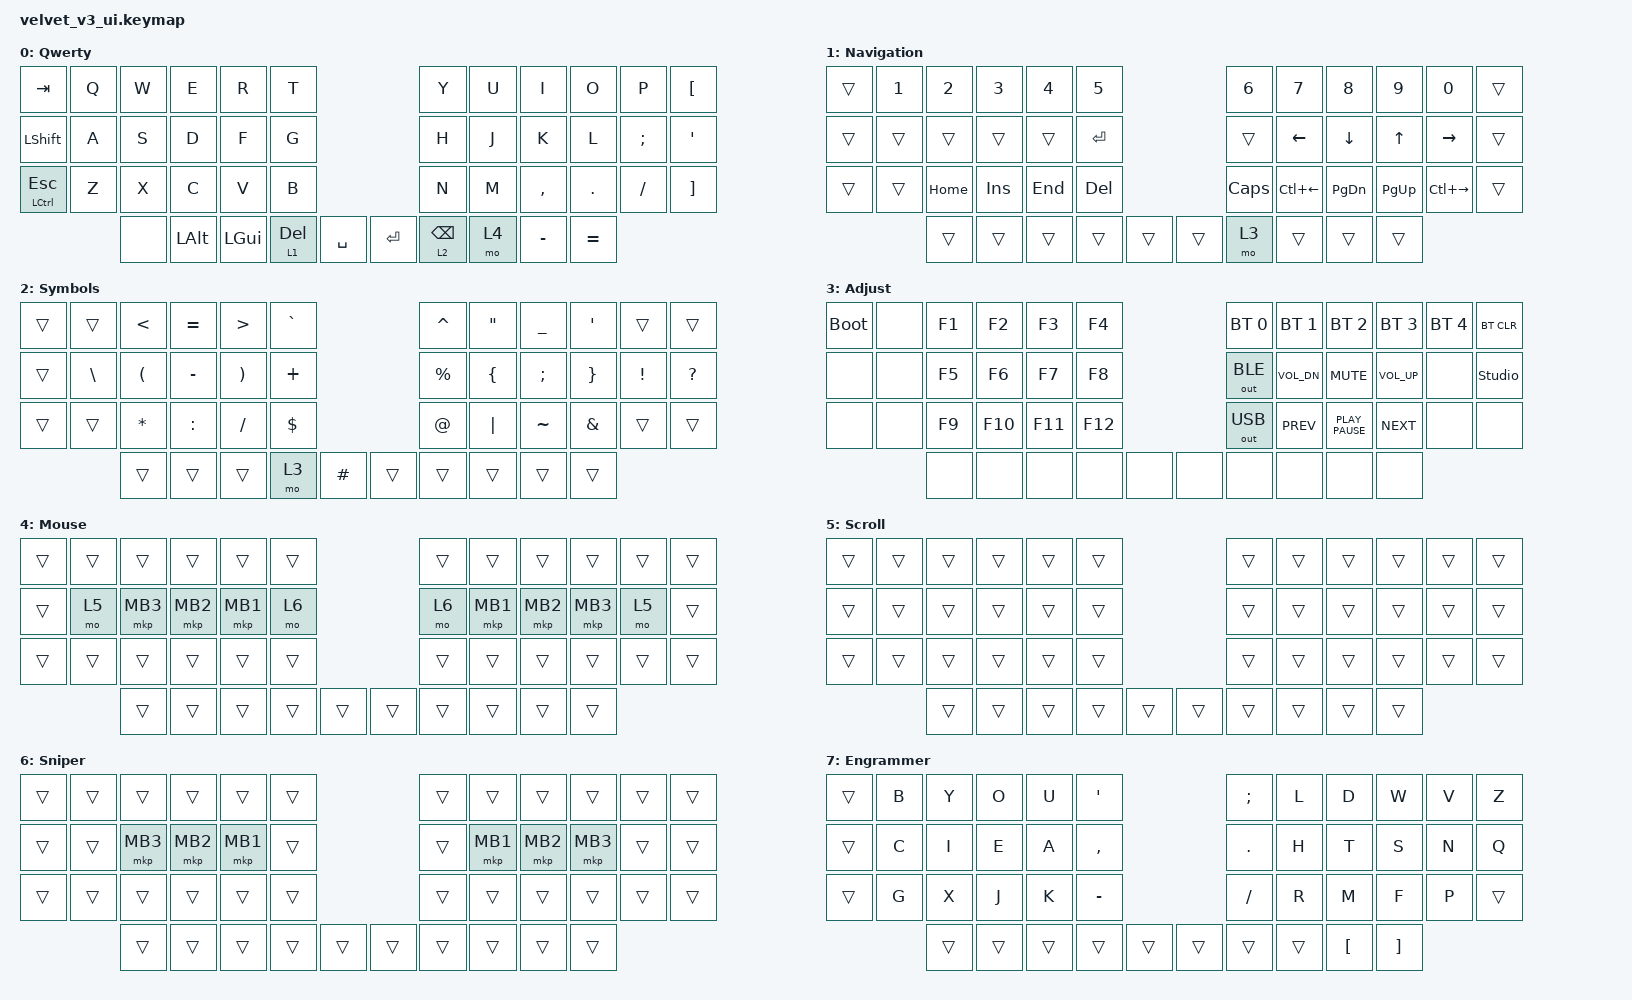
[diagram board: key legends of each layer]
#include "keys_ru.h"
#include <dt-bindings/zmk/input_transform.h>
#include <input/processors.dtsi>
#include <zephyr/dt-bindings/input/input-event-codes.h>
#include <behaviors.dtsi>
#include <dt-bindings/zmk/bt.h>
#include <dt-bindings/zmk/keys.h>
#include <dt-bindings/zmk/outputs.h>
#include <dt-bindings/zmk/pointing.h>

/ {
    behaviors {
        cap_sen: cap_sen {
            compatible = "zmk,behavior-hold-tap";
            label = "CAP_SEN";
            bindings = <&mo>, <&mkp>;

            #binding-cells = <2>;
            tapping-term-ms = <150>;
            hold-while-undecided;
        };

        td_l2_bs: td_l2_bs {
            compatible = "zmk,behavior-tap-dance";
            label = "TD_L2_BS";
            #binding-cells = <0>;
            bindings = <&lt 2 BACKSPACE>, <&kp BACKSPACE>;
        };
    };

    keymap {
        compatible = "zmk,keymap";

        Qwerty {
            bindings = <
&kp TAB        &kp Q  &kp W  &kp E     &kp R     &kp T                            &kp Y            &kp U  &kp I      &kp O      &kp P     &kp LBKT
&kp LSHIFT     &kp A  &kp S  &kp D     &kp F     &kp G                            &kp H            &kp J  &kp K      &kp L      &kp SEMI  &kp SQT
&mt LCTRL ESC  &kp Z  &kp X  &kp C     &kp V     &kp B                            &kp N            &kp M  &kp COMMA  &kp DOT    &kp FSLH  &kp RIGHT_BRACKET
                      &none  &kp LALT  &kp LGUI  &lt 1 DEL  &kp SPACE    &kp RET  &lt 2 BACKSPACE  &mo 4  &kp MINUS  &kp EQUAL
            >;

            display-name = "Qwerty";
        };

        Navigation {
            bindings = <
&trans  &kp N1  &kp N2    &kp N3   &kp N4   &kp N5                     &kp N6    &kp N7        &kp N8         &kp N9       &kp N0         &trans
&trans  &trans  &trans    &trans   &trans   &kp RET                    &trans    &kp LEFT      &kp DOWN       &kp UP       &kp RIGHT      &trans
&trans  &trans  &kp HOME  &kp INS  &kp END  &kp DEL                    &kp CLCK  &kp LC(LEFT)  &kp PAGE_DOWN  &kp PAGE_UP  &kp LC(RIGHT)  &trans
                &trans    &trans   &trans   &trans   &trans    &trans  &mo 3     &trans        &trans         &trans
            >;

            display-name = "Navigation";
        };

        Symbols {
            bindings = <
&trans  &trans    &kp LT    &kp EQUAL  &kp GT    &kp GRAVE                      &kp CARET  &kp DQT   &kp UNDER  &kp SQT   &trans    &trans
&trans  &kp BSLH  &kp LPAR  &kp MINUS  &kp RPAR  &kp PLUS                       &kp PRCNT  &kp LBRC  &kp SEMI   &kp RBRC  &kp EXCL  &kp QUESTION
&trans  &trans    &kp STAR  &kp COLON  &kp FSLH  &kp DLLR                       &kp AT     &kp PIPE  &kp TILDE  &kp AMPS  &trans    &trans
                  &trans    &trans     &trans    &mo 3      &kp HASH    &trans  &trans     &trans    &trans     &trans
            >;

            display-name = "Symbols";
        };

        Adjust {
            bindings = <
&bootloader  &none  &kp F1  &kp F2   &kp F3   &kp F4                   &bt BT_SEL 0  &bt BT_SEL 1  &bt BT_SEL 2      &bt BT_SEL 3  &bt BT_SEL 4  &bt BT_CLR
&none        &none  &kp F5  &kp F6   &kp F7   &kp F8                   &out OUT_BLE  &kp C_VOL_DN  &kp K_MUTE        &kp C_VOL_UP  &none         &studio_unlock
&none        &none  &kp F9  &kp F10  &kp F11  &kp F12                  &out OUT_USB  &kp K_PREV    &kp K_PLAY_PAUSE  &kp K_NEXT    &none         &none
                    &none   &none    &none    &none    &none    &none  &none         &none         &none             &none
            >;

            display-name = "Adjust";
        };

        Mouse {
            bindings = <
&trans  &trans  &trans    &trans    &trans    &trans                    &trans  &trans    &trans    &trans    &trans  &trans
&trans  &mo 5   &mkp MB3  &mkp MB2  &mkp MB1  &mo 6                     &mo 6   &mkp MB1  &mkp MB2  &mkp MB3  &mo 5   &trans
&trans  &trans  &trans    &trans    &trans    &trans                    &trans  &trans    &trans    &trans    &trans  &trans
                &trans    &trans    &trans    &trans  &trans    &trans  &trans  &trans    &trans    &trans
            >;
        };

        Scroll {
            bindings = <
&trans  &trans  &trans  &trans  &trans  &trans                    &trans  &trans  &trans  &trans  &trans  &trans
&trans  &trans  &trans  &trans  &trans  &trans                    &trans  &trans  &trans  &trans  &trans  &trans
&trans  &trans  &trans  &trans  &trans  &trans                    &trans  &trans  &trans  &trans  &trans  &trans
                &trans  &trans  &trans  &trans  &trans    &trans  &trans  &trans  &trans  &trans
            >;
        };

        Sniper {
            bindings = <
&trans  &trans  &trans    &trans    &trans    &trans                    &trans  &trans    &trans    &trans    &trans  &trans
&trans  &trans  &mkp MB3  &mkp MB2  &mkp MB1  &trans                    &trans  &mkp MB1  &mkp MB2  &mkp MB3  &trans  &trans
&trans  &trans  &trans    &trans    &trans    &trans                    &trans  &trans    &trans    &trans    &trans  &trans
                &trans    &trans    &trans    &trans  &trans    &trans  &trans  &trans    &trans    &trans
            >;
        };

        Engrammer {
            bindings = <
&trans  &kp B  &kp Y   &kp O   &kp U   &kp SQT                      &kp SEMI  &kp L   &kp D     &kp W     &kp V  &kp Z
&trans  &kp C  &kp I   &kp E   &kp A   &kp COMMA                    &kp DOT   &kp H   &kp T     &kp S     &kp N  &kp Q
&trans  &kp G  &kp X   &kp J   &kp K   &kp MINUS                    &kp FSLH  &kp R   &kp M     &kp F     &kp P  &trans
               &trans  &trans  &trans  &trans     &trans    &trans  &trans    &trans  &kp LBKT  &kp RBKT
            >;
        };
    };
};

&trackball { cpi = <1000>; };

&trackball_listener {
    input-processors = <&zip_xy_scaler 9 20>;

    scroller {
        layers = <5>;
        input-processors =
            <&zip_xy_transform INPUT_TRANSFORM_Y_INVERT>,
            <&zip_xy_scaler 1 32>,
            <&zip_xy_to_scroll_mapper>;
    };

    sniper {
        layers = <6>;
        input-processors = <&zip_xy_scaler 1 4>;
    };
};
